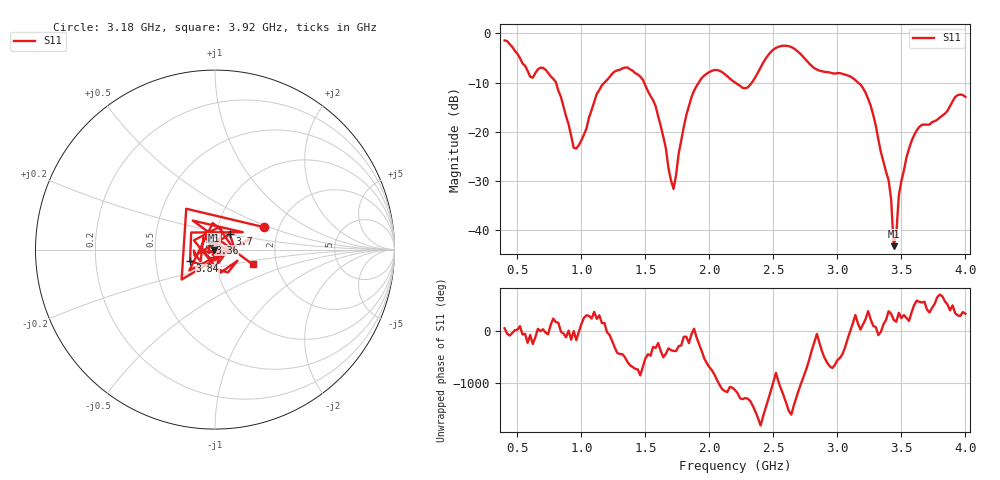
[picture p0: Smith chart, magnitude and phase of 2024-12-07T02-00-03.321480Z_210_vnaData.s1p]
!Created with skrf (http://scikit-rf.org).
# Hz S RI R 50.0
!freq ReS11 ImS11
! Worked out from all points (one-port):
!   181 points, 400 MHz to 4 GHz, reference 50 ohm
!   lowest |S11| = -43.2 dB at 3.44 GHz (marker M1), VSWR 1.01, Z = 49.4 - j0.35 ohm
!   |S11| at or under -10 dB: 801.4 MHz to 1.181 GHz (379.1 MHz wide, 38.3 % of centre); 1.49 GHz to 1.917 GHz (426.8 MHz wide, 25.1 % of centre); 3.161 GHz to end of sweep (the widest 3 of 4)
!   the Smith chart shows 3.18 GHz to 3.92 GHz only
!   S11 on the Smith chart (normalised r, x): 3.18 GHz: 1.68, +0.46; 3.36 GHz: 0.94, +0.07; 3.7 GHz: 1.16, +0.20; 3.84 GHz: 0.75, -0.10; 3.92 GHz: 1.51, -0.26
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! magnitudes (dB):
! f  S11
! 400 MHz  -1.5
! 600 MHz  -8.8
! 720 MHz  -7.4
! 860 MHz  -14.9
! 960 MHz  -23.4
! 1.12 GHz  -12.3
! 1.3 GHz  -7.4
! 1.56 GHz  -13.6
! 1.72 GHz  -31.6
! 1.76 GHz  -24.4
! 1.86 GHz  -13.0
! 1.94 GHz  -9.1
! 2.2 GHz  -10.0
! 2.3 GHz  -11.0
! 2.66 GHz  -3.1
! 3.1 GHz  -8.7
! 3.18 GHz  -10.4
! 3.26 GHz  -14.7
! 3.36 GHz  -26.1
! 3.42 GHz  -33.7
! 3.44 GHz  -43.2
! 3.46 GHz  -40.7
! 3.48 GHz  -32.9
! 3.56 GHz  -23.4
! 3.7 GHz  -18.5
! 3.84 GHz  -16.3
! 3.92 GHz  -12.9
! 4 GHz  -12.9
